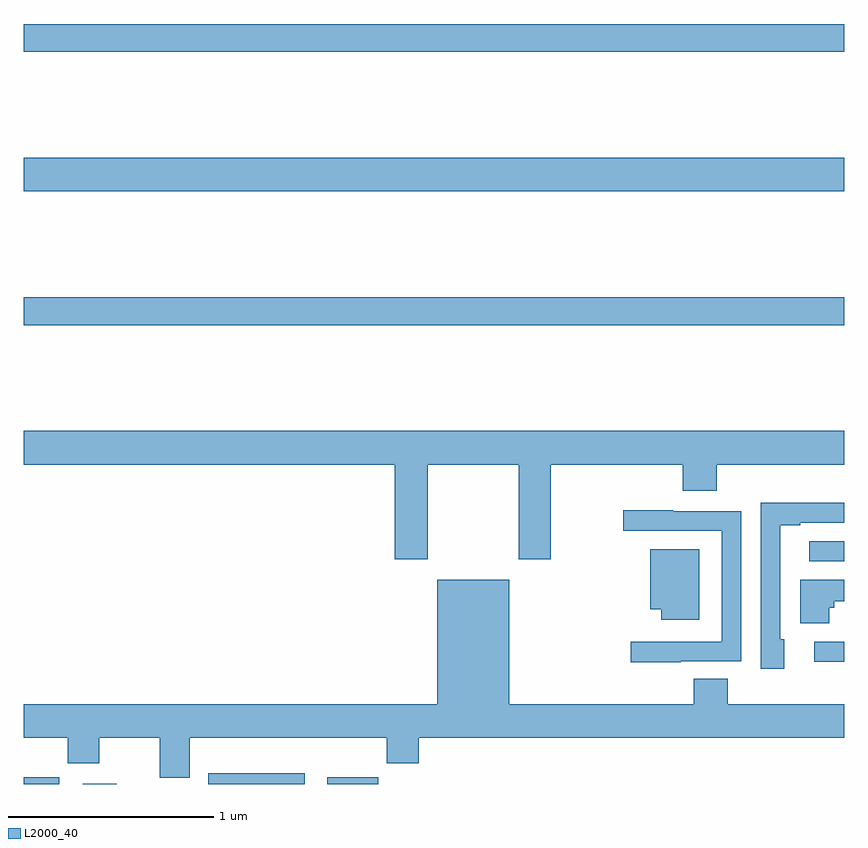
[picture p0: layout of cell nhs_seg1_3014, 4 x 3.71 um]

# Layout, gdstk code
import gdstk
lib = gdstk.Library(unit=1e-6, precision=1e-09)
def R(c, l, rs):  # rectangles x0, y0, x1, y1
    for r in rs: c.add(gdstk.rectangle(r[:2], r[2:], *l))
def P(c, l, *ps):  # polygons
    for p in ps: c.add(gdstk.Polygon(p, *l))
L2000_40 = (2000, 40)

nhs_seg1_3014 = lib.new_cell('nhs_seg1_3014')
R(nhs_seg1_3014, L2000_40, [(275,526.199,275.174,526.231), (275.288,526.199,275.454,526.201), (275.9,526.199,276.37,526.252), (276.479,526.199,276.728,526.231), (278.853,526.796,279,526.893), (278.829,527.286,279,527.382), (275,528.436,279,528.572), (275,529.088,279,529.252), (275,529.768,279,529.904)])
P(nhs_seg1_3014, L2000_40, [(276.969,527.756),(277.414,527.756),(277.414,527.295),(277.569,527.295),(277.569,527.756),(278.213,527.756),(278.213,527.628),(278.378,527.628),(278.378,527.756),(279,527.756),(279,527.92),(275,527.92),(275,527.756),(276.809,527.756),(276.809,527.295),(276.969,527.295)],
  [(278.707,526.905),(278.688,526.905),(278.688,527.46),(278.785,527.46),(278.785,527.472),(279,527.472),(279,527.57),(278.592,527.57),(278.592,526.761),(278.707,526.761)],
  [(278.203,526.797),(278.499,526.797),(278.499,527.529),(278.167,527.529),(278.167,527.533),(277.923,527.533),(277.923,527.433),(278.403,527.433),(278.403,526.893),(277.959,526.893),(277.959,526.793),(278.203,526.793)],
  [(278.293,527.344),(278.054,527.344),(278.054,527.051),(278.108,527.051),(278.108,527),(278.293,527)],
  [(275.809,526.424),(276.769,526.424),(276.769,526.3),(276.926,526.3),(276.926,526.424),(279,526.424),(279,526.588),(278.432,526.588),(278.432,526.712),(278.267,526.712),(278.267,526.588),(277.366,526.588),(277.366,527.194),(277.016,527.194),(277.016,526.588),(275,526.588),(275,526.424),(275.215,526.424),(275.215,526.3),(275.367,526.3),(275.367,526.424),(275.662,526.424),(275.662,526.23),(275.809,526.23)],
  [(278.926,527.058),(278.952,527.058),(278.952,527.09),(279,527.09),(279,527.194),(278.786,527.194),(278.786,526.982),(278.926,526.982)])

lib.write_gds('nhs_seg1_3014.gds')
